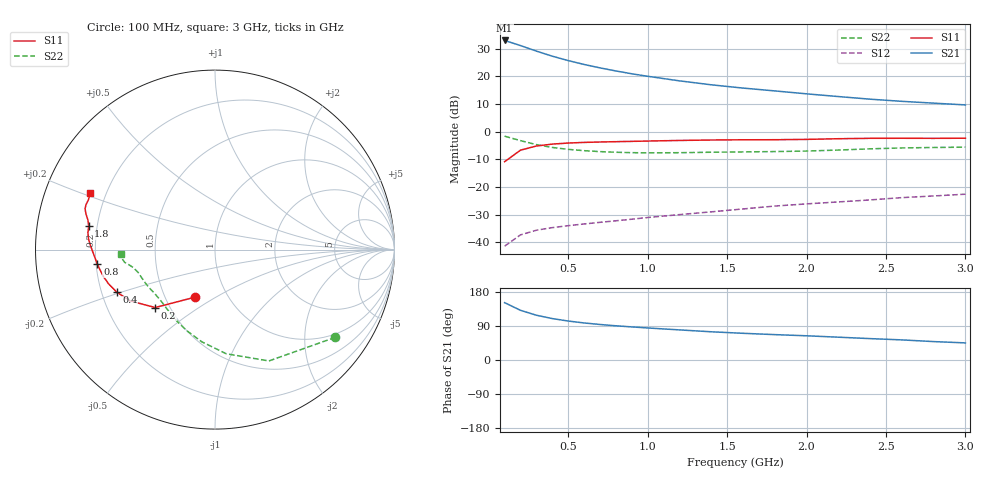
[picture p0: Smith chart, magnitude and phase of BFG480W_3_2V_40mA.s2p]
! Filename: 3_240BFG480.001
! Title: BFG480W
! Bias: Vce=3.2V; Ic=40mA
! Company: Philips Semiconductors NL
! User: Quality&Reliability T&D
! Measure time: 10 Nov 1999 / 11:56:47
#  MHz  S  MA  R 50
! Freq  S11  S21  S12  S22  :
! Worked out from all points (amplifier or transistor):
!   20 points, 100 MHz to 3 GHz, reference 50 ohm
!   highest |S21| = 33.0 dB at 100 MHz (marker M1)
!   |S21| within 3 dB of that: start of sweep to 257.3 MHz
!   unconditionally stable (mu >= 1): 1.051 GHz to end of sweep
!   at 400 MHz: K = 0.58, MSG = 31.0 dB, |S12| = -34.7 dB
!   at 1.2 GHz: K = 1.04, MAG = 23.0 dB, |S12| = -30.0 dB
!   at 3 GHz: K = 1.07, MAG = 14.5 dB, |S12| = -22.6 dB
!   S11 on the Smith chart (normalised r, x): 100 MHz: 0.71, -0.41; 200 MHz: 0.42, -0.34; 400 MHz: 0.26, -0.19; 800 MHz: 0.21, -0.06; 1.8 GHz: 0.17, +0.09; 3 GHz: 0.14, +0.21
100  0.2862 -112.5  44.71 151.3  0.008498 67.3  0.8297 -36.1
200  0.4638 -135.9  36.12 131.1  0.01361 55.9  0.6893 -64.2
300  0.551 -148.7  28.69 118.2  0.01651 51.1  0.5836 -83.8
400  0.5965 -156.6  23.21 109.3  0.0184 49.8  0.5189 -98.2
500  0.6236 -162.3  19.35 102.8  0.01995 50.2  0.4792 -108.9
600  0.64 -166.6  16.45 97.8  0.02142 51.4  0.4538 -117.2
700  0.6512 -170.1  14.28 93.7  0.02293 53.3  0.4364 -123.7
800  0.66 -173.0  12.56 90.3  0.02446 55.2  0.4248 -129.2
900  0.6686 -175.6  11.17 87.3  0.02613 57.6  0.4176 -133.9
1000  0.6774 -178.0  10.05 84.6  0.02802 59.3  0.4144 -138.2
1200  0.6944 178.1  8.316 79.4  0.03161 62.3  0.4171 -145.3
1400  0.7074 175.1  7.053 74.5  0.0355 64.7  0.4251 -150.6
1600  0.7142 172.4  6.152 70.5  0.04002 66.9  0.4308 -154.6
1800  0.7157 169.5  5.471 67.0  0.04517 68.6  0.437 -158.7
2000  0.7263 167.0  4.842 63.9  0.04943 70.2  0.4465 -163.4
2200  0.7462 164.5  4.321 60.2  0.05366 70.9  0.4655 -167.5
2400  0.7589 162.6  3.875 56.4  0.05831 71.0  0.4897 -170.3
2600  0.761 160.8  3.542 53.1  0.06419 71.0  0.5087 -172.0
2800  0.7578 158.4  3.286 48.6  0.06878 70.1  0.5179 -174.1
3000  0.7629 155.7  3.051 45.1  0.07407 69.8  0.5255 -177.2
